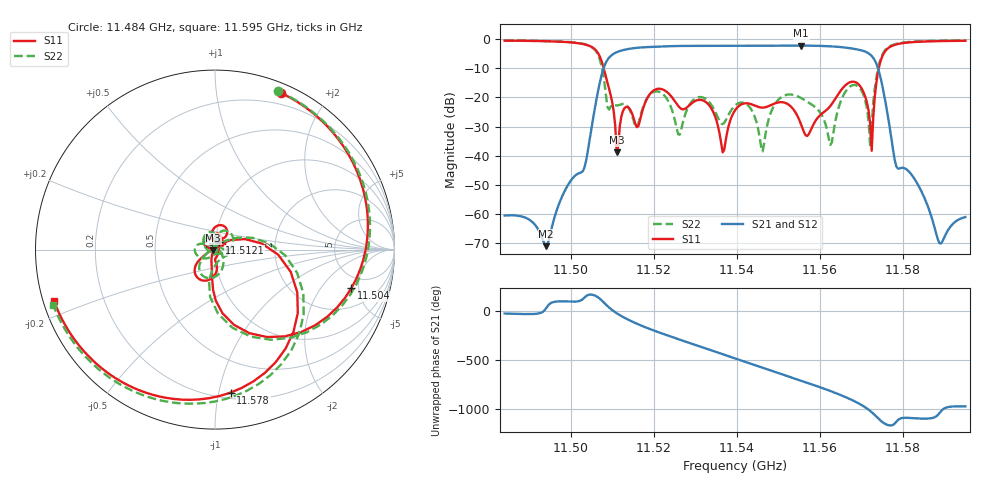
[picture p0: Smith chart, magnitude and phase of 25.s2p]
! Created with skrf 1.8.0 (http://scikit-rf.org).
# Hz S RI R 50.0
!freq ReS11 ImS11 ReS21 ImS21 ReS12 ImS12 ReS22 ImS22
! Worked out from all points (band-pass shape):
!   301 points, 11.484 GHz to 11.595 GHz, reference 50 ohm
!   highest |S21| = -2.19 dB at 11.5554 GHz (marker M1); lowest = -71.1 dB at 11.494 GHz (marker M2)
!   |S21| within 3 dB of the highest: 11.5101 GHz to 11.572 GHz (61.94 MHz wide, 0.537 % of centre)
!   lowest |S11| = -38.9 dB at 11.511 GHz (marker M3), VSWR 1.02, Z = 49 - j0.486 ohm
!   |S11| at or under -10 dB: 11.5079 GHz to 11.5741 GHz (66.26 MHz wide, 0.574 % of centre)
!   |S22| runs from -38.5 to -0.4 dB; largest |S21 - S12| = 0.01
!   S11 on the Smith chart (normalised r, x): 11.484 GHz: 0.09, +1.50; 11.504 GHz: 3.63, -4.14; 11.5121 GHz: 1.05, +0.08; 11.578 GHz: 0.24, -1.09; 11.595 GHz: 0.03, -0.15
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1.1484e10  0.3676 0.8721  0.00085 -0.000389  0.000844 -0.000366  0.3526 0.8828
1.149399e10  0.6652 0.6425  0.000244 0.000134  0.000238 0.000138  0.6652 0.6509
1.15025e10  0.838 -0.00733  -0.00199 0.00477  -0.00206 0.00479  0.8464 -0.0305
1.150398e10  0.76 -0.2146  -0.0107 0.00347  -0.0109 0.00345  0.7532 -0.2518
1.151101e10  -0.0102 -0.00496  0.5566 -0.2217  0.5561 -0.2244  0.0717 -0.0136
1.151212e10  0.0248 0.0398  0.4072 -0.493  0.4054 -0.4947  0.0765 0.00125
1.1521e10  0.0368 0.1359  -0.6153 0.4217  -0.6126 0.4223  0.0918 0.0865
1.153062e10  0.0122 0.0896  0.766 0.0676  0.7594 0.0628  -0.0464 0.0895
1.153654e10  -0.00102 0.0114  0.1342 -0.7599  0.1302 -0.7576  -0.0144 0.0318
1.15395e10  -0.0556 0.0226  -0.4168 -0.6468  -0.4183 -0.6402  -0.0511 0.0515
1.154616e10  -0.0496 0.0449  -0.604 0.4845  -0.6008 0.4859  0.01 -0.00634
1.154875e10  -0.0607 0.0476  -0.1908 0.7506  -0.1837 0.75  -0.0485 -0.049
1.155541e10  0.0161 0.0306  0.7651 0.1355  0.7574 0.1318  -0.0935 0.0291
1.1558e10  0.0167 -0.025  0.6867 -0.3579  0.6815 -0.3558  -0.068 0.0321
1.156244e10  0.00509 -0.0708  -0.0677 -0.7527  -0.0689 -0.7488  0.00633 0.0139
1.156688e10  -0.0453 -0.1721  -0.7004 -0.0963  -0.7004 -0.0949  0.00821 -0.1468
1.157243e10  -0.00708 0.00986  0.3461 0.3836  0.3446 0.3817  0.0193 0.0292
1.157391e10  0.261 0.0339  0.3169 -0.0653  0.3174 -0.0635  0.3012 0.0357
1.15765e10  0.3386 -0.6266  0.00346 -0.0403  0.00339 -0.0409  0.3703 -0.6374
1.157798e10  0.0881 -0.7963  0.00314 -0.0078  0.0031 -0.00793  0.1165 -0.8134
1.158871e10  -0.7745 -0.5121  0.000252 0.000191  0.000256 0.000183  -0.7726 -0.5371
1.1595e10  -0.8972 -0.2851  -0.000264 0.000841  -0.000236 0.000839  -0.9013 -0.309
